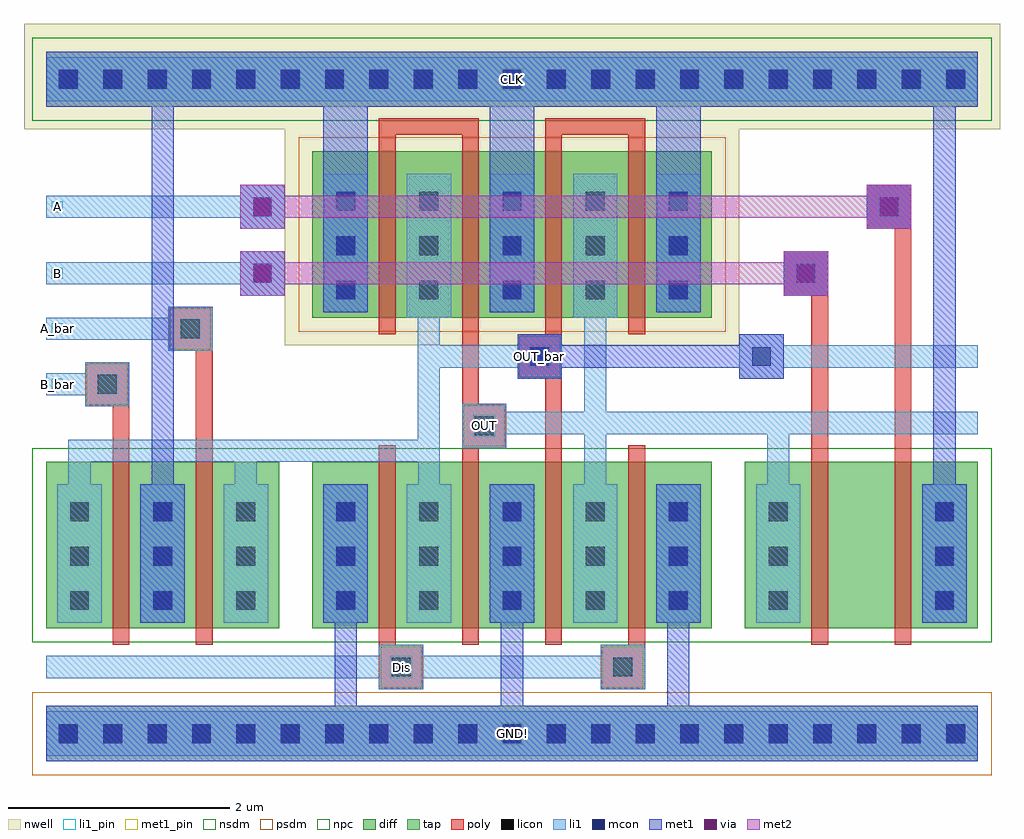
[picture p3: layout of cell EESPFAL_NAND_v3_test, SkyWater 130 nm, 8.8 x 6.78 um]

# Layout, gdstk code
import gdstk
lib = gdstk.Library(unit=1e-6, precision=5e-09)
def R(c, l, rs):  # rectangles x0, y0, x1, y1
    for r in rs: c.add(gdstk.rectangle(r[:2], r[2:], *l))
def A(c, l, x, y, w, h, nx, ny, dx, dy):  # array of equal rectangles
    R(c, l, [(x+i*dx, y+j*dy, x+i*dx+w, y+j*dy+h) for i in range(nx) for j in range(ny)])
def P(c, l, *ps):  # polygons
    for p in ps: c.add(gdstk.Polygon(p, *l))
nwell = (64, 20)
diff = (65, 20)
tap = (65, 44)
poly = (66, 20)
licon = (66, 44)
li1_pin = (67, 16)
li1 = (67, 20)
mcon = (67, 44)
met1_pin = (68, 16)
met1 = (68, 20)
via = (68, 44)
met2 = (69, 20)
nsdm = (93, 44)
psdm = (94, 20)
npc = (95, 20)

eespfal_nand_v3_test = lib.new_cell('EESPFAL_NAND_v3_test')
R(eespfal_nand_v3_test, nwell, [(-2.395,0.48,1.705,2.43), (-4.745,2.43,4.055,3.38)])
R(eespfal_nand_v3_test, diff, [(-4.545,-2.07,-2.445,-0.57), (-2.145,-2.07,1.455,-0.57), (1.755,-2.07,3.855,-0.57), (-2.145,0.73,1.455,2.23)])
R(eespfal_nand_v3_test, tap, [(-4.545,-3.27,3.855,-2.77), (-4.545,2.63,3.855,3.13)])
R(eespfal_nand_v3_test, poly, [(-1.545,-2.62,-1.145,-2.22), (0.455,-2.62,0.855,-2.22), (-3.945,-2.22,-3.795,-0.07), (-3.195,-2.22,-3.045,0.43), (-1.545,-2.22,-1.395,-0.42), (-0.795,-2.22,-0.645,-0.42), (-0.045,-2.22,0.105,0.18), (0.705,-2.22,0.855,-0.42), (2.355,-2.22,2.505,0.93), (3.105,-2.22,3.255,1.53), (-0.795,-0.445,-0.395,-0.045), (-4.195,-0.07,-3.795,0.33), (-0.795,-0.045,-0.645,2.38), (-0.295,0.18,0.105,0.58), (-3.445,0.43,-3.045,0.83), (-1.545,0.58,-1.395,2.38), (-0.045,0.58,0.105,2.38), (0.705,0.58,0.855,2.38), (2.105,0.93,2.505,1.33), (2.855,1.53,3.255,1.93), (-1.545,2.38,-0.645,2.53), (-0.045,2.38,0.855,2.53)])
A(eespfal_nand_v3_test, licon, -4.43, -3.105, 0.17, 0.17, 21, 2, 0.4, 5.9)
A(eespfal_nand_v3_test, licon, -4.33, -1.905, 0.17, 0.17, 3, 3, 0.75, 0.4)
A(eespfal_nand_v3_test, licon, -1.93, -1.905, 0.17, 0.17, 5, 3, 0.75, 0.4)
A(eespfal_nand_v3_test, licon, 1.97, -1.905, 0.17, 0.17, 1, 3, 0, 0.4)
A(eespfal_nand_v3_test, licon, 3.47, -1.905, 0.17, 0.17, 1, 3, 0, 0.4)
A(eespfal_nand_v3_test, licon, -1.93, 0.895, 0.17, 0.17, 5, 3, 0.75, 0.4)
R(eespfal_nand_v3_test, licon, [(-1.43,-2.505,-1.26,-2.335), (0.57,-2.505,0.74,-2.335), (-0.68,-0.33,-0.51,-0.16), (-4.08,0.045,-3.91,0.215), (-0.18,0.295,-0.01,0.465), (-3.33,0.545,-3.16,0.715), (2.22,1.045,2.39,1.215), (2.97,1.645,3.14,1.815)])
A(eespfal_nand_v3_test, li1_pin, -4.495, 0.08, 0.1, 0.1, 1, 3, 0, 0.5)
R(eespfal_nand_v3_test, li1_pin, [(-1.445,-2.52,-1.245,-2.32), (-0.695,-0.345,-0.495,-0.145), (-4.495,1.68,-4.395,1.78)])
A(eespfal_nand_v3_test, li1, -4.445, -2.02, 0.4, 1.25, 3, 1, 0.75, 0)
A(eespfal_nand_v3_test, li1, -2.045, -2.02, 0.4, 1.25, 5, 1, 0.75, 0)
A(eespfal_nand_v3_test, li1, -2.045, 0.78, 0.4, 1.25, 3, 1, 1.5, 0)
A(eespfal_nand_v3_test, li1, -2.795, 0.93, 0.4, 0.1, 1, 4, 0, 0.3)
R(eespfal_nand_v3_test, li1, [(-4.545,-3.22,3.855,-2.82), (-1.545,-2.62,-1.145,-2.52), (0.455,-2.62,0.855,-2.52), (-4.545,-2.52,0.855,-2.32), (-1.545,-2.32,-1.145,-2.22), (0.455,-2.32,0.855,-2.22), (1.855,-2.02,2.255,-0.77), (3.355,-2.02,3.755,-0.77), (-0.795,-0.445,-0.395,-0.045), (-4.195,-0.07,-3.795,0.03), (-4.545,0.03,-3.795,0.23), (-0.295,0.18,0.105,0.28), (1.705,0.18,2.105,0.28), (-4.195,0.23,-3.795,0.33), (1.705,0.28,3.855,0.48), (-3.445,0.43,-3.045,0.53), (-0.295,0.48,0.105,0.58), (1.705,0.48,2.105,0.58), (-4.545,0.53,-3.045,0.73), (-3.445,0.73,-3.045,0.83), (-1.295,0.73,-0.895,2.03), (0.205,0.73,0.605,2.03), (2.105,0.93,2.505,1.33), (-4.545,1.03,-2.395,1.23), (2.855,1.53,3.255,1.93), (-4.545,1.63,-2.395,1.83), (-4.545,2.68,3.855,3.08)])
P(eespfal_nand_v3_test, li1, [(0.305,-0.77),(0.305,-0.32),(-0.395,-0.32),(-0.395,-0.12),(0.305,-0.12),(0.305,0.73),(0.505,0.73),(0.505,-0.12),(3.855,-0.12),(3.855,-0.32),(2.155,-0.32),(2.155,-0.77),(1.955,-0.77),(1.955,-0.32),(0.505,-0.32),(0.505,-0.77)],
  [(-4.345,-0.77),(-4.345,-0.37),(-1.195,-0.37),(-1.195,0.73),(-0.995,0.73),(-0.995,0.48),(0.105,0.48),(0.105,0.28),(-0.995,0.28),(-0.995,-0.77),(-1.19,-0.77),(-1.19,-0.57),(-2.645,-0.57),(-2.645,-0.77),(-2.845,-0.77),(-2.845,-0.57),(-4.145,-0.57),(-4.145,-0.77)])
A(eespfal_nand_v3_test, mcon, -4.43, -3.105, 0.17, 0.17, 21, 2, 0.4, 5.9)
A(eespfal_nand_v3_test, mcon, -3.58, -1.905, 0.17, 0.17, 1, 3, 0, 0.4)
A(eespfal_nand_v3_test, mcon, -1.93, -1.905, 0.17, 0.17, 3, 3, 1.5, 0.4)
A(eespfal_nand_v3_test, mcon, 3.47, -1.905, 0.17, 0.17, 1, 3, 0, 0.4)
A(eespfal_nand_v3_test, mcon, -1.93, 0.895, 0.17, 0.17, 3, 3, 1.5, 0.4)
R(eespfal_nand_v3_test, mcon, [(-0.18,0.295,-0.01,0.465), (1.82,0.295,1.99,0.465), (-2.68,1.045,-2.51,1.215), (2.22,1.045,2.39,1.215), (-2.68,1.645,-2.51,1.815), (2.97,1.645,3.14,1.815)])
R(eespfal_nand_v3_test, met1_pin, [(-0.445,-3.12,-0.245,-2.92), (-0.195,0.28,0.005,0.48), (-0.445,2.78,-0.245,2.98)])
A(eespfal_nand_v3_test, met1, -1.945, -2.77, 0.2, 0.75, 3, 1, 1.5, 0)
A(eespfal_nand_v3_test, met1, -2.045, -2.02, 0.4, 1.25, 3, 1, 1.5, 0)
A(eespfal_nand_v3_test, met1, -2.045, 0.78, 0.4, 1.85, 3, 1, 1.5, 0)
R(eespfal_nand_v3_test, met1, [(-4.545,-3.27,3.855,-2.77), (-3.695,-2.02,-3.295,-0.77), (3.355,-2.02,3.755,-0.77), (-3.595,-0.77,-3.395,2.63), (3.455,-0.77,3.655,2.63), (-0.295,0.18,0.105,0.28), (1.705,0.18,2.105,0.28), (-0.295,0.28,2.105,0.48), (-0.295,0.48,0.105,0.58), (1.705,0.48,2.105,0.58), (-2.795,0.93,-2.395,1.33), (2.105,0.93,2.505,1.33), (-2.795,1.53,-2.395,1.93), (2.855,1.53,3.255,1.93), (-4.545,2.63,3.855,3.13)])
R(eespfal_nand_v3_test, via, [(-2.67,1.055,-2.52,1.205), (2.23,1.055,2.38,1.205), (-2.67,1.655,-2.52,1.805), (2.98,1.655,3.13,1.805)])
A(eespfal_nand_v3_test, met2, -2.795, 0.93, 0.4, 0.1, 1, 4, 0, 0.3)
R(eespfal_nand_v3_test, met2, [(2.105,0.93,2.505,1.03), (-2.795,1.03,2.505,1.23), (2.105,1.23,2.505,1.33), (2.855,1.53,3.255,1.63), (-2.795,1.63,3.255,1.83), (2.855,1.83,3.255,1.93)])
R(eespfal_nand_v3_test, nsdm, [(-4.67,-2.195,3.98,-0.445), (-4.67,2.505,3.98,3.255)])
R(eespfal_nand_v3_test, psdm, [(-4.67,-3.395,3.98,-2.645), (-2.27,0.605,1.58,2.355)])
R(eespfal_nand_v3_test, npc, [(-1.53,-2.605,-1.16,-2.235), (0.47,-2.605,0.84,-2.235), (-0.78,-0.43,-0.41,-0.06), (-4.18,-0.055,-3.81,0.315), (-0.28,0.195,0.09,0.565), (-3.43,0.445,-3.06,0.815), (2.12,0.945,2.49,1.315), (2.87,1.545,3.24,1.915)])
eespfal_nand_v3_test.add(gdstk.Label('OUT', (-0.595,-0.245), layer=67, texttype=16))
eespfal_nand_v3_test.add(gdstk.Label('A', (-4.445,1.73), layer=67, texttype=16))
eespfal_nand_v3_test.add(gdstk.Label('A_bar', (-4.445,0.63), layer=67, texttype=16))
eespfal_nand_v3_test.add(gdstk.Label('B', (-4.445,1.13), layer=67, texttype=16))
eespfal_nand_v3_test.add(gdstk.Label('B_bar', (-4.445,0.13), layer=67, texttype=16))
eespfal_nand_v3_test.add(gdstk.Label('Dis', (-1.345,-2.42), layer=67, texttype=16))
eespfal_nand_v3_test.add(gdstk.Label('OUT_bar', (-0.095,0.38), layer=68, texttype=16))
eespfal_nand_v3_test.add(gdstk.Label('GND!', (-0.345,-3.02), layer=68, texttype=16))
eespfal_nand_v3_test.add(gdstk.Label('CLK', (-0.345,2.88), layer=68, texttype=16))

lib.write_gds('EESPFAL_NAND_v3_test.gds')
